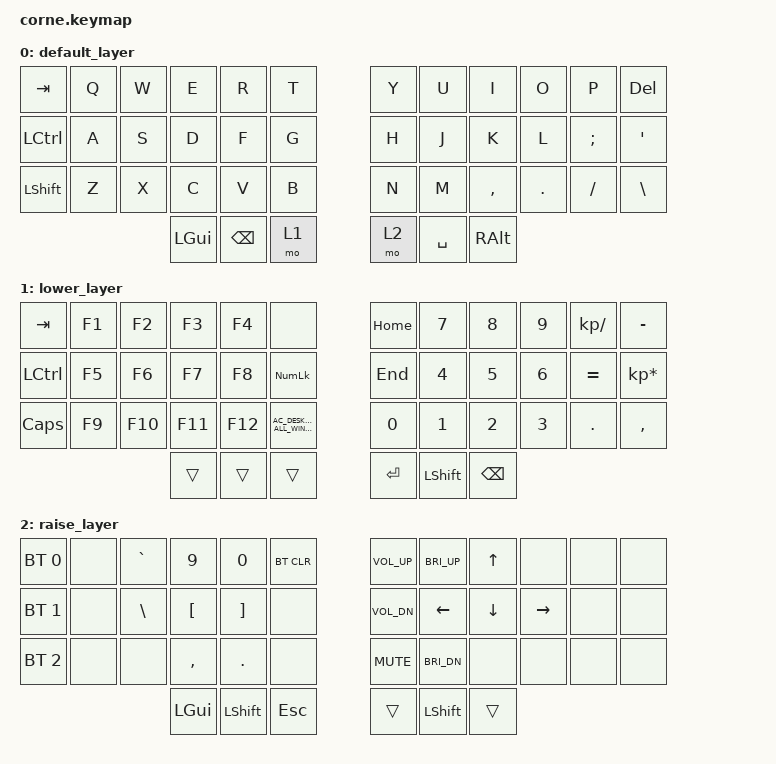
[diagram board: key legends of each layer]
/*
 * Copyright (c) 2020 The ZMK Contributors
 *
 * SPDX-License-Identifier: MIT
 */

#include <behaviors.dtsi>
#include <dt-bindings/zmk/keys.h>
#include <dt-bindings/zmk/bt.h>

/ {

  keymap {
    compatible = "zmk,keymap";

      default_layer {
        bindings = <
          &kp TAB    &kp Q    &kp W    &kp E    &kp R    &kp T      &kp Y    &kp U     &kp I     &kp O    &kp P     &kp DEL
          &kp LCTRL  &kp A    &kp S    &kp D    &kp F    &kp G      &kp H    &kp J     &kp K     &kp L    &kp SEMI  &kp SQT
          &kp LSHFT  &kp Z    &kp X    &kp C    &kp V    &kp B      &kp N    &kp M     &kp COMMA &kp DOT  &kp FSLH  &kp BSLH
                                       &kp LGUI &kp BSPC &mo 1      &mo 2 &kp SPACE &kp RALT
          >;
        };

      lower_layer {
        bindings = <
          &kp TAB    &kp F1   &kp F2   &kp F3   &kp F4   &none                               &kp HOME  &kp N7     &kp N8    &kp N9    &kp KP_SLASH &kp MINUS
          &kp LCTRL  &kp F5   &kp F6   &kp F7   &kp F8   &kp KP_NUM                          &kp END   &kp N4     &kp N5    &kp N6    &kp EQUAL    &kp KP_ASTERISK
          &kp CAPS   &kp F9   &kp F10  &kp F11  &kp F12  &kp C_AC_DESKTOP_SHOW_ALL_WINDOWS   &kp N0    &kp N1     &kp N2    &kp N3    &kp DOT      &kp COMMA
                                       &trans   &trans   &trans                              &kp RET   &kp LSHFT  &kp BSPC
          >;
        };

      raise_layer {
        bindings = <
          &bt BT_SEL 0 &none  &kp GRAVE &kp N9    &kp N0    &bt BT_CLR  &kp C_VOL_UP &kp C_BRI_UP &kp UP    &none    &none    &none
          &bt BT_SEL 1 &none  &kp BSLH  &kp LBKT  &kp RBKT  &none       &kp C_VOL_DN &kp LEFT     &kp DOWN  &kp RIGHT &none    &none
          &bt BT_SEL 2 &none  &none     &kp COMMA &kp DOT   &none       &kp C_MUTE   &kp C_BRI_DN &none     &none     &none    &none
                                        &kp LGUI  &kp LSHFT &kp ESC     &trans       &kp LSHFT    &trans
          >;
        };
  };
};
